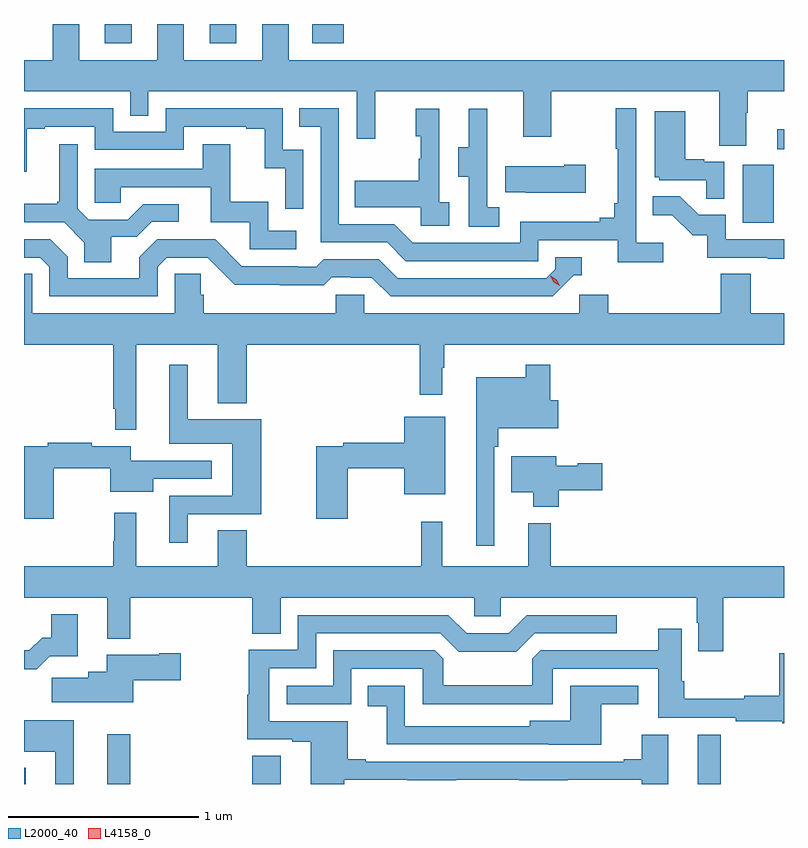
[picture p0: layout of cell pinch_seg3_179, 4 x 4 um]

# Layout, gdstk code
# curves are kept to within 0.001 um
import gdstk
lib = gdstk.Library(unit=1e-6, precision=1e-09)
def R(c, l, rs):  # rectangles x0, y0, x1, y1
    for r in rs: c.add(gdstk.rectangle(r[:2], r[2:], *l))
def P(c, l, *ps):  # polygons
    for p in ps: c.add(gdstk.Polygon(p, *l))
L2000_40 = (2000, 40)
L4158_0 = (4158, 0)

pinch_seg3_179 = lib.new_cell('pinch_seg3_179')
R(pinch_seg3_179, L2000_40, [(993.857,738.563,993.865,738.649), (994.295,738.563,994.417,738.826), (995.057,738.563,995.209,738.713), (997.403,738.563,997.525,738.823), (997.64,741.516,997.804,741.823), (997.821,741.903,997.857,742.009), (994.283,742.461,994.423,742.563), (994.835,742.461,994.975,742.563), (995.375,742.461,995.54,742.563)])
P(pinch_seg3_179, L2000_40, [(997.657,742.096),(997.665,742.096),(997.665,742.208),(997.857,742.208),(997.857,742.372),(995.251,742.372),(995.251,742.562),(995.111,742.562),(995.111,742.372),(994.699,742.372),(994.699,742.562),(994.559,742.562),(994.559,742.372),(994.147,742.372),(994.147,742.562),(994.008,742.562),(994.008,742.372),(993.857,742.372),(993.857,742.208),(994.416,742.208),(994.416,742.081),(994.512,742.081),(994.512,742.208),(995.607,742.208),(995.607,741.96),(995.705,741.96),(995.705,742.208),(996.485,742.208),(996.485,741.969),(996.633,741.969),(996.633,742.208),(997.517,742.208),(997.517,741.922),(997.657,741.922)],
  [(997.222,741.412),(997.08,741.412),(997.08,742.12),(996.972,742.12),(996.972,741.907),(996.983,741.907),(996.983,741.619),(996.964,741.619),(996.964,741.542),(996.887,741.542),(996.887,741.523),(996.468,741.523),(996.468,741.411),(995.904,741.411),(995.805,741.51),(995.514,741.51),(995.514,742.119),(995.305,742.119),(995.305,742.023),(995.418,742.023),(995.418,741.414),(995.768,741.414),(995.867,741.315),(996.564,741.315),(996.564,741.426),(996.983,741.426),(996.983,741.31),(997.222,741.31)],
  [(995.328,741.9),(995.22,741.9),(995.22,742.119),(994.602,742.119),(994.602,741.996),(994.326,741.996),(994.326,742.119),(993.857,742.119),(993.857,741.785),(993.871,741.785),(993.871,742.011),(993.967,742.011),(993.967,742.023),(994.23,742.023),(994.23,741.9),(994.698,741.9),(994.698,742.023),(995.027,742.023),(995.027,742.011),(995.123,742.011),(995.123,741.803),(995.232,741.803),(995.232,741.591),(995.328,741.591)],
  [(996.094,741.626),(996.042,741.626),(996.042,742.117),(995.918,742.117),(995.918,741.972),(995.944,741.972),(995.944,741.854),(995.934,741.854),(995.934,741.739),(995.599,741.739),(995.599,741.599),(995.946,741.599),(995.946,741.501),(996.094,741.501)],
  [(996.358,741.599),(996.294,741.599),(996.294,741.903),(996.296,741.903),(996.296,742.117),(996.197,742.117),(996.197,741.915),(996.143,741.915),(996.143,741.76),(996.198,741.76),(996.198,741.496),(996.358,741.496)],
  [(997.542,741.837),(997.436,741.837),(997.436,741.85),(997.336,741.85),(997.336,742.105),(997.178,742.105),(997.178,741.756),(997.2,741.756),(997.2,741.741),(997.447,741.741),(997.447,741.643),(997.542,741.643)],
  [(995.29,741.474),(995.142,741.474),(995.142,741.628),(994.943,741.628),(994.943,741.931),(994.799,741.931),(994.799,741.801),(994.23,741.801),(994.23,741.621),(994.367,741.621),(994.367,741.705),(994.841,741.705),(994.841,741.519),(995.046,741.519),(995.046,741.378),(995.29,741.378)],
  [(994.315,741.442),(994.45,741.442),(994.53,741.522),(994.672,741.522),(994.672,741.615),(994.484,741.615),(994.403,741.534),(994.197,741.534),(994.14,741.591),(994.14,741.931),(994.043,741.931),(994.043,741.628),(994.032,741.628),(994.032,741.616),(993.857,741.616),(993.857,741.519),(994.068,741.519),(994.175,741.412),(994.175,741.31),(994.315,741.31)],
  [(996.814,741.822),(996.701,741.822),(996.701,741.814),(996.391,741.814),(996.391,741.677),(996.499,741.677),(996.499,741.674),(996.814,741.674)],
  [(997.857,741.429),(997.551,741.429),(997.551,741.558),(997.407,741.558),(997.309,741.656),(997.165,741.656),(997.165,741.557),(997.269,741.557),(997.376,741.45),(997.453,741.45),(997.453,741.333),(997.771,741.333),(997.771,741.328),(997.857,741.328)],
  [(994.56,741.285),(994.608,741.333),(994.824,741.333),(994.966,741.191),(995.202,741.191),(995.202,741.189),(995.435,741.189),(995.477,741.231),(995.58,741.231),(995.58,741.228),(995.687,741.228),(995.786,741.129),(996.639,741.129),(996.75,741.24),(996.793,741.24),(996.793,741.336),(996.654,741.336),(996.654,741.273),(996.606,741.225),(995.823,741.225),(995.724,741.324),(995.435,741.324),(995.396,741.285),(995.297,741.285),(995.297,741.288),(995.004,741.288),(994.863,741.429),(994.557,741.429),(994.463,741.335),(994.463,741.225),(994.086,741.225),(994.086,741.339),(993.996,741.429),(993.857,741.429),(993.857,741.333),(993.942,741.333),(993.99,741.285),(993.99,741.129),(994.56,741.129)],
  [(993.9,741.248),(993.857,741.248),(993.857,740.876),(994.326,740.876),(994.326,740.539),(994.336,740.539),(994.336,740.427),(994.447,740.427),(994.447,740.876),(994.877,740.876),(994.877,740.567),(995.03,740.567),(995.03,740.876),(995.941,740.876),(995.941,740.613),(996.058,740.613),(996.058,740.753),(996.07,740.753),(996.07,740.876),(997.857,740.876),(997.857,741.04),(997.683,741.04),(997.683,741.248),(997.523,741.248),(997.523,741.04),(996.932,741.04),(996.932,741.138),(996.78,741.138),(996.78,741.04),(995.649,741.04),(995.649,741.138),(995.499,741.138),(995.499,741.04),(994.802,741.04),(994.802,741.138),(994.787,741.138),(994.787,741.248),(994.65,741.248),(994.65,741.04),(993.9,741.04)],
  [(996.333,740.339),(996.353,740.339),(996.353,740.435),(996.67,740.435),(996.67,740.583),(996.626,740.583),(996.626,740.77),(996.498,740.77),(996.498,740.704),(996.236,740.704),(996.236,739.818),(996.333,739.818)],
  [(994.72,739.983),(995.106,739.983),(995.106,740.482),(994.72,740.482),(994.72,740.77),(994.622,740.77),(994.622,740.354),(994.952,740.354),(994.952,740.079),(994.622,740.079),(994.622,739.833),(994.72,739.833)],
  [(995.56,740.224),(995.858,740.224),(995.858,740.087),(996.073,740.087),(996.073,740.497),(995.858,740.497),(995.858,740.36),(995.536,740.36),(995.536,740.34),(995.395,740.34),(995.395,739.959),(995.56,739.959)],
  [(994.014,740.224),(994.31,740.224),(994.31,740.102),(994.537,740.102),(994.537,740.169),(994.846,740.169),(994.846,740.265),(994.42,740.265),(994.42,740.34),(994.214,740.34),(994.214,740.36),(993.982,740.36),(993.982,740.34),(993.857,740.34),(993.857,739.959),(994.014,739.959)],
  [(996.671,740.11),(996.901,740.11),(996.901,740.252),(996.771,740.252),(996.771,740.239),(996.658,740.239),(996.658,740.287),(996.422,740.287),(996.422,740.099),(996.536,740.099),(996.536,740.021),(996.671,740.021)],
  [(997.538,739.544),(997.857,739.544),(997.857,739.708),(996.629,739.708),(996.629,739.936),(996.512,739.936),(996.512,739.708),(996.059,739.708),(996.059,739.942),(995.949,739.942),(995.949,739.708),(995.03,739.708),(995.03,739.898),(994.877,739.898),(994.877,739.708),(994.447,739.708),(994.447,739.99),(994.333,739.99),(994.333,739.841),(994.326,739.841),(994.326,739.708),(993.857,739.708),(993.857,739.544),(994.295,739.544),(994.295,739.328),(994.417,739.328),(994.417,739.544),(995.057,739.544),(995.057,739.354),(995.209,739.354),(995.209,739.544),(996.228,739.544),(996.228,739.446),(996.366,739.446),(996.366,739.544),(997.399,739.544),(997.399,739.412),(997.406,739.412),(997.406,739.263),(997.538,739.263)],
  [(993.992,739.235),(994.141,739.235),(994.141,739.456),(994.001,739.456),(994.001,739.333),(993.952,739.333),(993.885,739.266),(993.857,739.266),(993.857,739.166),(993.923,739.166)],
  [(995.542,738.585),(997.109,738.585),(997.109,738.563),(997.249,738.563),(997.249,738.823),(997.109,738.823),(997.109,738.694),(997.013,738.694),(997.013,738.681),(995.656,738.681),(995.656,738.694),(995.56,738.694),(995.56,738.894),(995.148,738.894),(995.148,739.173),(995.394,739.173),(995.394,739.356),(996.048,739.356),(996.146,739.259),(996.449,739.259),(996.546,739.356),(996.976,739.356),(996.976,739.452),(996.504,739.452),(996.408,739.356),(996.186,739.356),(996.09,739.452),(995.298,739.452),(995.298,739.269),(995.04,739.269),(995.04,739.034),(995.032,739.034),(995.032,738.798),(995.27,738.798),(995.27,738.786),(995.366,738.786),(995.366,738.563),(995.542,738.563)],
  [(997.857,739.252),(997.832,739.252),(997.832,739.028),(997.648,739.028),(997.648,739.011),(997.331,739.011),(997.331,739.105),(997.318,739.105),(997.318,739.381),(997.196,739.381),(997.196,739.266),(996.576,739.266),(996.531,739.221),(996.531,739.082),(996.063,739.082),(996.063,739.221),(996.018,739.266),(995.484,739.266),(995.484,739.08),(995.241,739.08),(995.241,738.984),(995.58,738.984),(995.58,739.17),(995.955,739.17),(995.955,738.984),(996.639,738.984),(996.639,739.17),(997.196,739.17),(997.196,738.912),(997.603,738.912),(997.603,738.892),(997.848,738.892),(997.848,738.884),(997.857,738.884)],
  [(994.432,739.109),(994.681,739.109),(994.681,739.251),(994.568,739.251),(994.568,739.243),(994.292,739.243),(994.292,739.153),(994.196,739.153),(994.196,739.121),(994.002,739.121),(994.002,738.992),(994.432,738.992)],
  [(996.895,738.983),(997.09,738.983),(997.09,739.08),(996.731,739.08),(996.731,738.895),(996.519,738.895),(996.519,738.867),(995.862,738.867),(995.862,739.08),(995.665,739.08),(995.665,738.972),(995.765,738.972),(995.765,738.771),(996.619,738.771),(996.619,738.77),(996.895,738.77)],
  [(994.12,738.898),(993.857,738.898),(993.857,738.734),(994.022,738.734),(994.022,738.563),(994.12,738.563)])
P(pinch_seg3_179, L4158_0, [(996.676,741.185),(996.645,741.205),(996.628,741.238),(996.628,741.238),(996.629,741.238),(996.66,741.218),(996.676,741.186),(996.676,741.185)])

lib.write_gds('pinch_seg3_179.gds')
